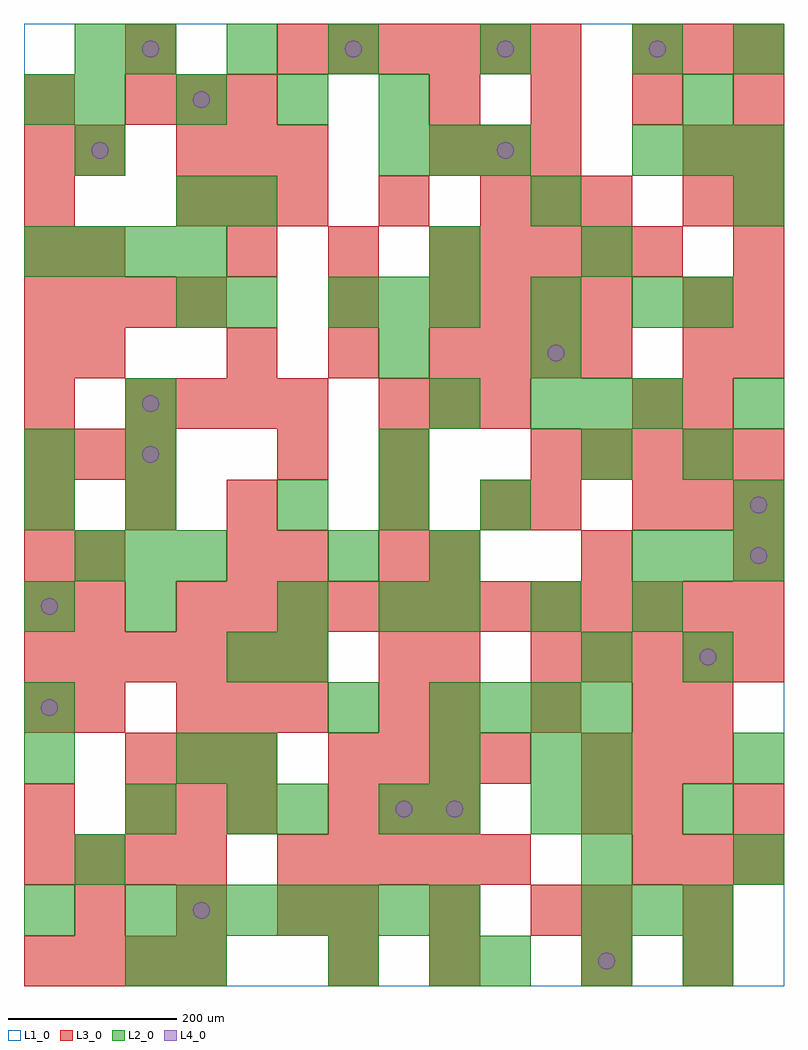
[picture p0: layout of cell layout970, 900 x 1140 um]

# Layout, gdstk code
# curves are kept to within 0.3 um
import gdstk
lib = gdstk.Library(unit=1e-6, precision=1e-09)
def R(c, l, rs):  # rectangles x0, y0, x1, y1
    for r in rs: c.add(gdstk.rectangle(r[:2], r[2:], *l))
def A(c, l, x, y, w, h, nx, ny, dx, dy):  # array of equal rectangles
    R(c, l, [(x+i*dx, y+j*dy, x+i*dx+w, y+j*dy+h) for i in range(nx) for j in range(ny)])
def P(c, l, *ps):  # polygons
    for p in ps: c.add(gdstk.Polygon(p, *l))
L1_0 = (1, 0)
L2_0 = (2, 0)
L3_0 = (3, 0)
L4_0 = (4, 0)

layout970 = lib.new_cell('layout970')
R(layout970, L1_0, [(0,0,900,1140)])
A(layout970, L2_0, 540, 0, 60, 60, 3, 1, 120, 0)
A(layout970, L2_0, 120, 60, 60, 60, 7, 1, 60, 0)
A(layout970, L2_0, 660, 60, 60, 60, 3, 1, 60, 0)
A(layout970, L2_0, 660, 120, 60, 60, 1, 3, 0, 60)
A(layout970, L2_0, 0, 300, 60, 60, 1, 3, 0, 120)
A(layout970, L2_0, 480, 300, 60, 60, 4, 1, 60, 0)
A(layout970, L2_0, 660, 360, 60, 60, 1, 3, 0, 240)
A(layout970, L2_0, 480, 420, 60, 60, 3, 1, 120, 0)
A(layout970, L2_0, 60, 480, 60, 60, 3, 1, 60, 0)
A(layout970, L2_0, 480, 480, 60, 60, 1, 3, 0, 180)
A(layout970, L2_0, 720, 480, 60, 60, 3, 2, 60, 480)
A(layout970, L2_0, 120, 540, 60, 60, 1, 3, 0, 60)
A(layout970, L2_0, 300, 540, 60, 60, 3, 1, 120, 0)
A(layout970, L2_0, 600, 660, 60, 60, 3, 1, 60, 0)
A(layout970, L2_0, 360, 780, 60, 60, 3, 1, 60, 0)
A(layout970, L2_0, 0, 840, 60, 60, 4, 1, 60, 0)
A(layout970, L2_0, 420, 960, 60, 60, 3, 1, 60, 0)
A(layout970, L2_0, 60, 1020, 60, 60, 4, 1, 120, 0)
A(layout970, L2_0, 120, 1080, 60, 60, 3, 1, 120, 0)
R(layout970, L2_0, [(120,0,180,60), (180,0,240,60), (360,0,420,60), (480,0,540,60), (0,60,60,120), (60,120,120,180), (840,120,900,180), (120,180,180,240), (240,180,300,240), (300,180,360,240), (420,180,480,240), (480,180,540,240), (600,180,660,240), (780,180,840,240), (0,240,60,300), (180,240,240,300), (240,240,300,300), (480,240,540,300), (600,240,660,300), (840,240,900,300), (360,300,420,360), (240,360,300,420), (300,360,360,420), (780,360,840,420), (120,420,180,480), (300,420,360,480), (420,420,480,480), (360,480,420,540), (840,540,900,600), (0,600,60,660), (420,600,480,660), (780,600,840,660), (840,660,900,720), (420,720,480,780), (600,720,660,780), (180,780,240,840), (240,780,300,840), (600,780,660,840), (720,780,780,840), (780,780,840,840), (180,900,240,960), (240,900,300,960), (600,900,660,960), (840,900,900,960), (60,960,120,1020), (0,1020,60,1080), (780,1020,840,1080), (60,1080,120,1140), (540,1080,600,1140), (720,1080,780,1140), (840,1080,900,1140)])
A(layout970, L3_0, 0, 0, 60, 60, 4, 2, 60, 120)
A(layout970, L3_0, 60, 60, 60, 60, 3, 1, 120, 0)
A(layout970, L3_0, 360, 60, 60, 60, 3, 1, 120, 0)
A(layout970, L3_0, 300, 120, 60, 60, 5, 1, 60, 0)
A(layout970, L3_0, 720, 120, 60, 60, 3, 2, 60, 420)
A(layout970, L3_0, 0, 180, 60, 60, 1, 3, 0, 120)
A(layout970, L3_0, 120, 180, 60, 60, 3, 2, 60, 60)
A(layout970, L3_0, 360, 180, 60, 60, 3, 1, 60, 0)
A(layout970, L3_0, 360, 240, 60, 60, 4, 1, 60, 0)
A(layout970, L3_0, 660, 240, 60, 60, 3, 1, 60, 0)
A(layout970, L3_0, 180, 300, 60, 60, 3, 2, 60, 600)
A(layout970, L3_0, 480, 300, 60, 60, 3, 1, 120, 0)
A(layout970, L3_0, 0, 360, 60, 60, 6, 1, 60, 0)
A(layout970, L3_0, 600, 360, 60, 60, 5, 2, 60, 240)
A(layout970, L3_0, 180, 420, 60, 60, 12, 1, 60, 0)
A(layout970, L3_0, 420, 480, 60, 60, 1, 3, 0, 60)
A(layout970, L3_0, 480, 480, 60, 60, 3, 1, 180, 0)
A(layout970, L3_0, 0, 540, 60, 60, 3, 1, 120, 0)
A(layout970, L3_0, 0, 600, 60, 60, 3, 1, 60, 0)
A(layout970, L3_0, 120, 660, 60, 60, 4, 1, 60, 0)
A(layout970, L3_0, 420, 660, 60, 60, 3, 1, 60, 0)
A(layout970, L3_0, 780, 660, 60, 60, 1, 3, 0, 60)
A(layout970, L3_0, 60, 720, 60, 60, 1, 3, 0, 120)
A(layout970, L3_0, 240, 720, 60, 60, 3, 2, 120, 120)
A(layout970, L3_0, 540, 720, 60, 60, 3, 2, 60, 180)
A(layout970, L3_0, 840, 720, 60, 60, 1, 5, 0, 60)
A(layout970, L3_0, 0, 780, 60, 60, 4, 1, 60, 0)
A(layout970, L3_0, 480, 780, 60, 60, 4, 1, 60, 0)
A(layout970, L3_0, 0, 840, 60, 60, 1, 4, 0, 60)
A(layout970, L3_0, 540, 840, 60, 60, 4, 1, 60, 0)
A(layout970, L3_0, 180, 960, 60, 60, 3, 1, 60, 0)
A(layout970, L3_0, 480, 960, 60, 60, 3, 1, 60, 0)
A(layout970, L3_0, 120, 1020, 60, 60, 3, 1, 60, 0)
A(layout970, L3_0, 480, 1020, 60, 60, 4, 1, 120, 0)
A(layout970, L3_0, 300, 1080, 60, 60, 6, 1, 60, 0)
A(layout970, L3_0, 720, 1080, 60, 60, 3, 1, 60, 0)
R(layout970, L3_0, [(360,0,420,60), (480,0,540,60), (660,0,720,60), (780,0,840,60), (660,60,720,120), (780,60,840,120), (660,180,720,240), (720,180,780,240), (840,180,900,240), (60,300,120,360), (420,300,480,360), (780,300,840,360), (420,360,480,420), (480,360,540,420), (60,420,120,480), (0,480,60,540), (60,480,120,540), (240,480,300,540), (300,480,360,540), (540,540,600,600), (600,540,660,600), (300,600,360,660), (0,660,60,720), (720,660,780,720), (0,720,60,780), (360,780,420,840), (420,900,480,960), (780,900,840,960), (780,960,840,1020), (120,1080,180,1140)])
P(layout970, L4_0, [(40,330),(39.239,333.827),(37.071,337.071),(33.827,339.239),(30,340),(26.173,339.239),(22.929,337.071),(20.761,333.827),(20,330),(20.761,326.173),(22.929,322.929),(26.173,320.761),(30,320),(33.827,320.761),(37.071,322.929),(39.239,326.173)],
  [(40,450),(39.239,453.827),(37.071,457.071),(33.827,459.239),(30,460),(26.173,459.239),(22.929,457.071),(20.761,453.827),(20,450),(20.761,446.173),(22.929,442.929),(26.173,440.761),(30,440),(33.827,440.761),(37.071,442.929),(39.239,446.173)],
  [(100,990),(99.239,993.827),(97.071,997.071),(93.827,999.239),(90,1000),(86.173,999.239),(82.929,997.071),(80.761,993.827),(80,990),(80.761,986.173),(82.929,982.929),(86.173,980.761),(90,980),(93.827,980.761),(97.071,982.929),(99.239,986.173)],
  [(160,630),(159.239,633.827),(157.071,637.071),(153.827,639.239),(150,640),(146.173,639.239),(142.929,637.071),(140.761,633.827),(140,630),(140.761,626.173),(142.929,622.929),(146.173,620.761),(150,620),(153.827,620.761),(157.071,622.929),(159.239,626.173)],
  [(160,690),(159.239,693.827),(157.071,697.071),(153.827,699.239),(150,700),(146.173,699.239),(142.929,697.071),(140.761,693.827),(140,690),(140.761,686.173),(142.929,682.929),(146.173,680.761),(150,680),(153.827,680.761),(157.071,682.929),(159.239,686.173)],
  [(160,1110),(159.239,1113.827),(157.071,1117.071),(153.827,1119.239),(150,1120),(146.173,1119.239),(142.929,1117.071),(140.761,1113.827),(140,1110),(140.761,1106.173),(142.929,1102.929),(146.173,1100.761),(150,1100),(153.827,1100.761),(157.071,1102.929),(159.239,1106.173)],
  [(220,90),(219.239,93.827),(217.071,97.071),(213.827,99.239),(210,100),(206.173,99.239),(202.929,97.071),(200.761,93.827),(200,90),(200.761,86.173),(202.929,82.929),(206.173,80.761),(210,80),(213.827,80.761),(217.071,82.929),(219.239,86.173)],
  [(220,1050),(219.239,1053.827),(217.071,1057.071),(213.827,1059.239),(210,1060),(206.173,1059.239),(202.929,1057.071),(200.761,1053.827),(200,1050),(200.761,1046.173),(202.929,1042.929),(206.173,1040.761),(210,1040),(213.827,1040.761),(217.071,1042.929),(219.239,1046.173)],
  [(400,1110),(399.239,1113.827),(397.071,1117.071),(393.827,1119.239),(390,1120),(386.173,1119.239),(382.929,1117.071),(380.761,1113.827),(380,1110),(380.761,1106.173),(382.929,1102.929),(386.173,1100.761),(390,1100),(393.827,1100.761),(397.071,1102.929),(399.239,1106.173)],
  [(460,210),(459.239,213.827),(457.071,217.071),(453.827,219.239),(450,220),(446.173,219.239),(442.929,217.071),(440.761,213.827),(440,210),(440.761,206.173),(442.929,202.929),(446.173,200.761),(450,200),(453.827,200.761),(457.071,202.929),(459.239,206.173)],
  [(520,210),(519.239,213.827),(517.071,217.071),(513.827,219.239),(510,220),(506.173,219.239),(502.929,217.071),(500.761,213.827),(500,210),(500.761,206.173),(502.929,202.929),(506.173,200.761),(510,200),(513.827,200.761),(517.071,202.929),(519.239,206.173)],
  [(580,990),(579.239,993.827),(577.071,997.071),(573.827,999.239),(570,1000),(566.173,999.239),(562.929,997.071),(560.761,993.827),(560,990),(560.761,986.173),(562.929,982.929),(566.173,980.761),(570,980),(573.827,980.761),(577.071,982.929),(579.239,986.173)],
  [(580,1110),(579.239,1113.827),(577.071,1117.071),(573.827,1119.239),(570,1120),(566.173,1119.239),(562.929,1117.071),(560.761,1113.827),(560,1110),(560.761,1106.173),(562.929,1102.929),(566.173,1100.761),(570,1100),(573.827,1100.761),(577.071,1102.929),(579.239,1106.173)],
  [(640,750),(639.239,753.827),(637.071,757.071),(633.827,759.239),(630,760),(626.173,759.239),(622.929,757.071),(620.761,753.827),(620,750),(620.761,746.173),(622.929,742.929),(626.173,740.761),(630,740),(633.827,740.761),(637.071,742.929),(639.239,746.173)],
  [(700,30),(699.239,33.827),(697.071,37.071),(693.827,39.239),(690,40),(686.173,39.239),(682.929,37.071),(680.761,33.827),(680,30),(680.761,26.173),(682.929,22.929),(686.173,20.761),(690,20),(693.827,20.761),(697.071,22.929),(699.239,26.173)],
  [(760,1110),(759.239,1113.827),(757.071,1117.071),(753.827,1119.239),(750,1120),(746.173,1119.239),(742.929,1117.071),(740.761,1113.827),(740,1110),(740.761,1106.173),(742.929,1102.929),(746.173,1100.761),(750,1100),(753.827,1100.761),(757.071,1102.929),(759.239,1106.173)],
  [(820,390),(819.239,393.827),(817.071,397.071),(813.827,399.239),(810,400),(806.173,399.239),(802.929,397.071),(800.761,393.827),(800,390),(800.761,386.173),(802.929,382.929),(806.173,380.761),(810,380),(813.827,380.761),(817.071,382.929),(819.239,386.173)],
  [(880,510),(879.239,513.827),(877.071,517.071),(873.827,519.239),(870,520),(866.173,519.239),(862.929,517.071),(860.761,513.827),(860,510),(860.761,506.173),(862.929,502.929),(866.173,500.761),(870,500),(873.827,500.761),(877.071,502.929),(879.239,506.173)],
  [(880,570),(879.239,573.827),(877.071,577.071),(873.827,579.239),(870,580),(866.173,579.239),(862.929,577.071),(860.761,573.827),(860,570),(860.761,566.173),(862.929,562.929),(866.173,560.761),(870,560),(873.827,560.761),(877.071,562.929),(879.239,566.173)])

lib.write_gds('layout970.gds')
